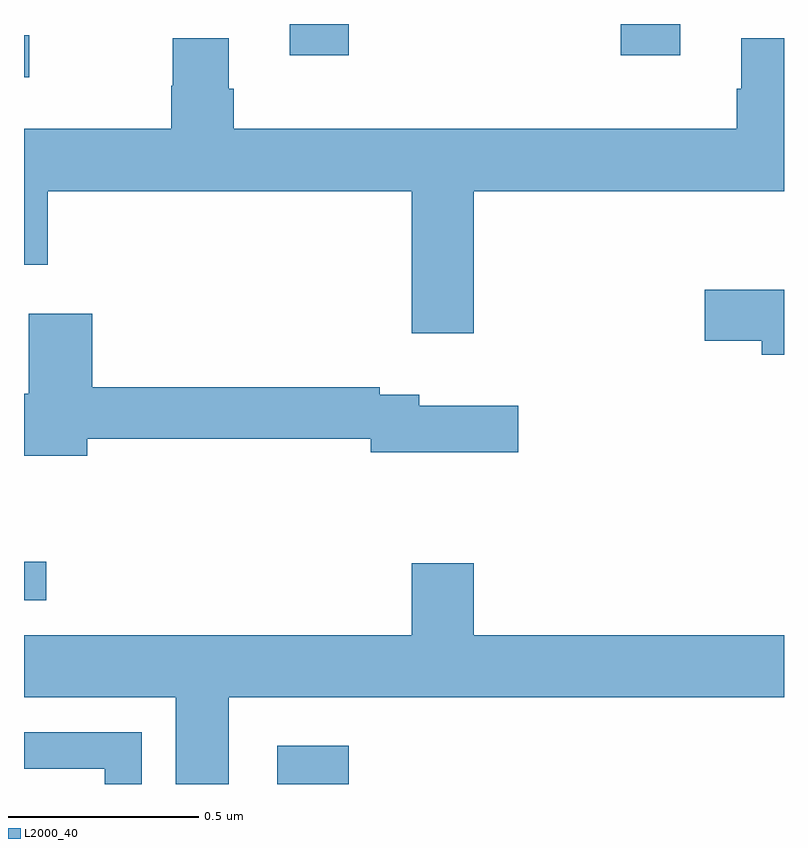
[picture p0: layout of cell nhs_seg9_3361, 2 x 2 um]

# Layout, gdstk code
import gdstk
lib = gdstk.Library(unit=1e-6, precision=1e-09)
def R(c, l, rs):  # rectangles x0, y0, x1, y1
    for r in rs: c.add(gdstk.rectangle(r[:2], r[2:], *l))
def P(c, l, *ps):  # polygons
    for p in ps: c.add(gdstk.Polygon(p, *l))
L2000_40 = (2000, 40)

nhs_seg9_3361 = lib.new_cell('nhs_seg9_3361')
R(nhs_seg9_3361, L2000_40, [(152.667,1221.5,152.855,1221.601), (152,1221.984,152.059,1222.085), (152,1223.36,152.014,1223.47), (152.699,1223.418,152.855,1223.5), (153.571,1223.418,153.727,1223.5)])
P(nhs_seg9_3361, L2000_40, [(153.184,1223.06),(154,1223.06),(154,1223.462),(153.887,1223.462),(153.887,1223.33),(153.875,1223.33),(153.875,1223.224),(152.552,1223.224),(152.552,1223.33),(152.539,1223.33),(152.539,1223.462),(152.392,1223.462),(152.392,1223.337),(152.387,1223.337),(152.387,1223.224),(152,1223.224),(152,1222.866),(152.063,1222.866),(152.063,1223.06),(153.02,1223.06),(153.02,1222.686),(153.184,1222.686)],
  [(154,1222.801),(153.792,1222.801),(153.792,1222.667),(153.941,1222.667),(153.941,1222.63),(154,1222.63)],
  [(152.167,1222.408),(152.912,1222.408),(152.912,1222.373),(153.301,1222.373),(153.301,1222.495),(153.04,1222.495),(153.04,1222.524),(152.936,1222.524),(152.936,1222.544),(152.18,1222.544),(152.18,1222.738),(152.012,1222.738),(152.012,1222.527),(152,1222.527),(152,1222.364),(152.167,1222.364)],
  [(152.539,1221.728),(154,1221.728),(154,1221.892),(153.184,1221.892),(153.184,1222.081),(153.02,1222.081),(153.02,1221.892),(152,1221.892),(152,1221.728),(152.399,1221.728),(152.399,1221.5),(152.539,1221.5)],
  [(152.31,1221.636),(152,1221.636),(152,1221.54),(152.213,1221.54),(152.213,1221.5),(152.31,1221.5)])

lib.write_gds('nhs_seg9_3361.gds')
